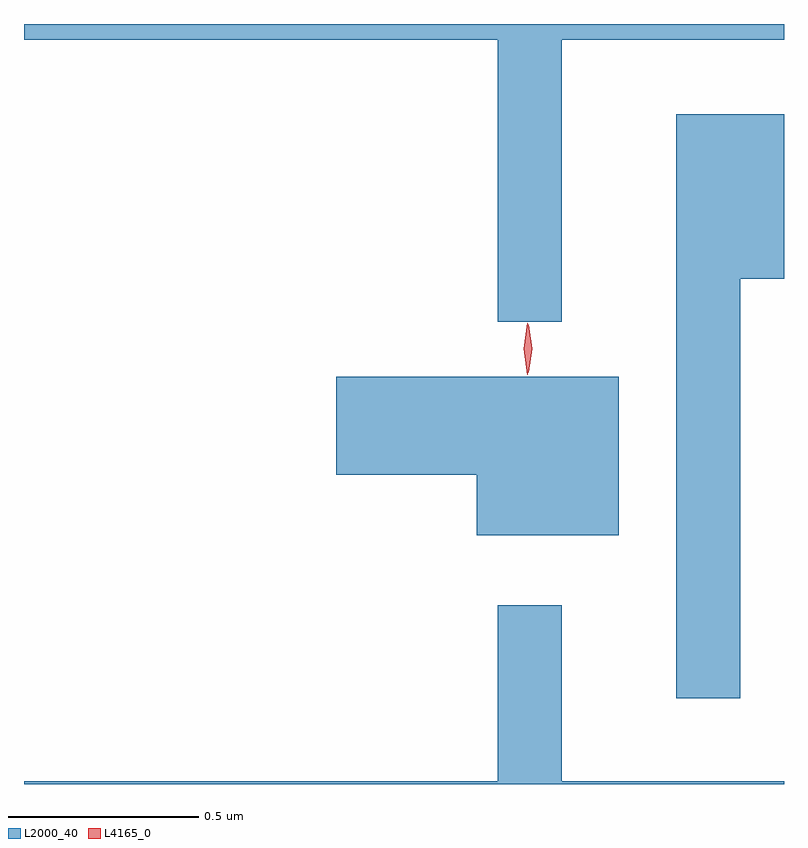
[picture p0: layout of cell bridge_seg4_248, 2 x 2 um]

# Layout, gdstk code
import gdstk
lib = gdstk.Library(unit=1e-6, precision=1e-09)
def P(c, l, *ps):  # polygons
    for p in ps: c.add(gdstk.Polygon(p, *l))
L2000_40 = (2000, 40)
L4165_0 = (4165, 0)

bridge_seg4_248 = lib.new_cell('bridge_seg4_248')
P(bridge_seg4_248, L2000_40, [(742.769,1381.316),(743.354,1381.316),(743.354,1381.357),(741.354,1381.357),(741.354,1381.316),(742.601,1381.316),(742.601,1380.573),(742.769,1380.573)],
  [(743.239,1380.686),(743.354,1380.686),(743.354,1381.119),(743.071,1381.119),(743.071,1379.583),(743.239,1379.583)],
  [(742.919,1380.429),(742.176,1380.429),(742.176,1380.171),(742.546,1380.171),(742.546,1380.011),(742.919,1380.011)],
  [(743.354,1379.364),(742.769,1379.364),(742.769,1379.828),(742.601,1379.828),(742.601,1379.364),(741.354,1379.364),(741.354,1379.357),(743.354,1379.357)])
P(bridge_seg4_248, L4165_0, [(742.678,1380.434),(742.678,1380.434),(742.669,1380.502),(742.678,1380.57),(742.679,1380.57),(742.679,1380.57),(742.689,1380.502),(742.679,1380.434)],
  [(742.682,1380.44),(742.682,1380.44),(742.672,1380.503),(742.682,1380.566),(742.682,1380.567),(742.682,1380.566),(742.692,1380.503),(742.682,1380.44)])

lib.write_gds('bridge_seg4_248.gds')
